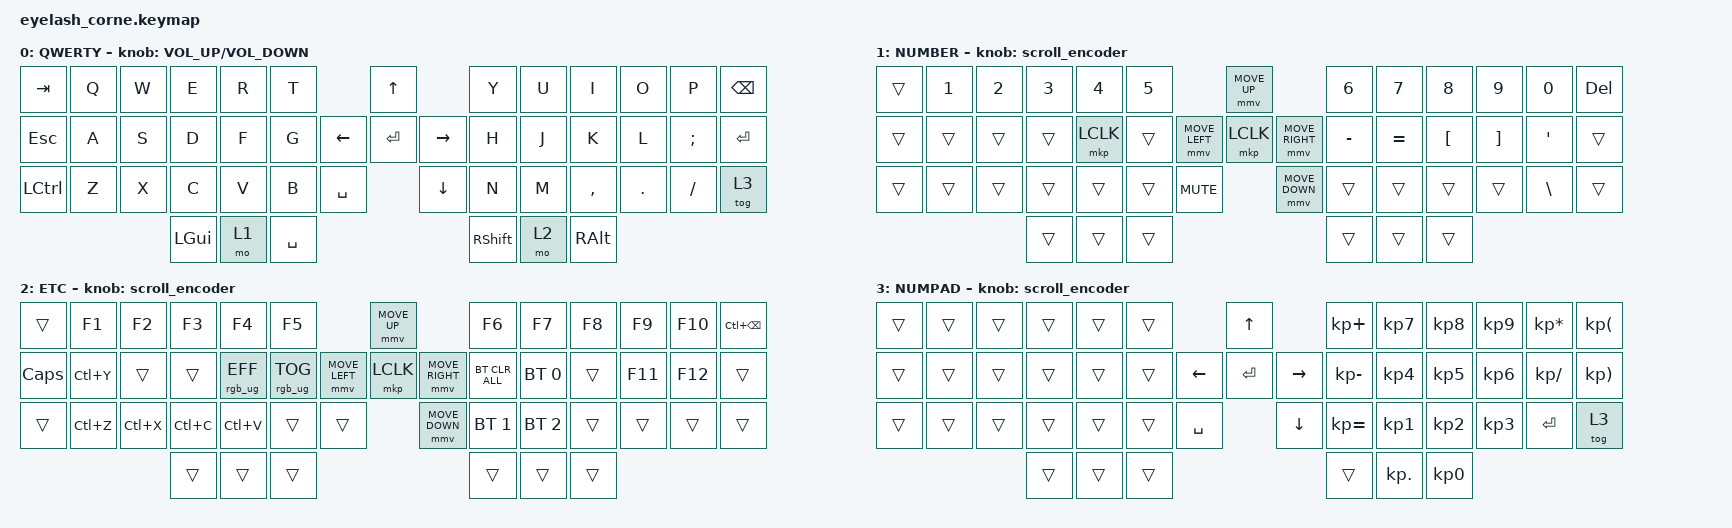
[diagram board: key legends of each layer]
#include <behaviors.dtsi>
#include <dt-bindings/zmk/bt.h>
#include <dt-bindings/zmk/keys.h>
#include <dt-bindings/zmk/mouse.h>
#include <dt-bindings/zmk/outputs.h>
#include <dt-bindings/zmk/rgb.h>

#include <input/processors.dtsi>

/*

   &mmv_input_listener {
       input-processors = <&zip_xy_scaler 2 1>;
   };

   &msc_input_listener {
       input-processors = <&zip_xy_scaler 2 1>;
   };

 */

#define ZMK_MOUSE_DEFAULT_MOVE_VAL 1200  // 600
#define ZMK_MOUSE_DEFAULT_SCRL_VAL 20    // 10

/ {
    behaviors {
        td0: td0 {
            compatible = "zmk,behavior-tap-dance";
            display-name = "Shift/Caps Lock Tap Dance";
            #binding-cells = <0>;
            bindings = <&kp LEFT_SHIFT>, <&kp CAPS>;
        };
    };

    rgb_encoder: rgb_encoder {
        compatible = "zmk,behavior-sensor-rotate";
        #sensor-binding-cells = <0>;
        bindings = <&rgb_ug RGB_BRI>, <&rgb_ug RGB_BRD>;
    };

    scroll_encoder: scroll_encoder {
        compatible = "zmk,behavior-sensor-rotate";
        #sensor-binding-cells = <0>;
        bindings = <&msc SCRL_DOWN>, <&msc SCRL_UP>;
        tap-ms = <30>;
    };

    keymap {
        compatible = "zmk,keymap";

        default_layer {
            display-name = "QWERTY";
            bindings = <
&kp TAB    &kp Q  &kp W      &kp E     &kp R  &kp T                              &kp UP                &kp Y        &kp U  &kp I      &kp O    &kp P     &kp BSPC
&kp ESC    &kp A  &kp S      &kp D     &kp F  &kp G                    &kp LEFT  &kp ENTER  &kp RIGHT  &kp H        &kp J  &kp K      &kp L    &kp SEMI  &kp RET
&kp LCTRL  &kp Z  &kp X      &kp C     &kp V  &kp B       &kp SPACE              &kp DOWN              &kp N        &kp M  &kp COMMA  &kp DOT  &kp FSLH  &tog 3
                              &kp LGUI  &mo 1  &kp SPACE                                             &kp RSHIFT  &mo 2  &kp RALT
            >;
            sensor-bindings = <&inc_dec_kp C_VOLUME_UP C_VOLUME_DOWN>;
        };

        lower_layer {
            display-name = "NUMBER";
            bindings = <
&trans  &kp N1   &kp N2     &kp N3     &kp N4     &kp N5                            &mmv MOVE_UP                      &kp N6     &kp N7     &kp N8     &kp N9     &kp N0     &kp DEL
&trans  &trans   &trans     &trans     &mkp LCLK  &trans            &mmv MOVE_LEFT  &mkp LCLK       &mmv MOVE_RIGHT   &kp MINUS  &kp EQUAL  &kp LBKT   &kp RBKT   &kp SQT    &trans
&trans  &trans   &trans     &trans     &trans     &trans     &kp C_MUTE             &mmv MOVE_DOWN                    &trans     &trans     &trans     &trans     &kp BSLH   &trans
                              &trans     &trans     &trans                                                          &trans     &trans    &trans
            >;
            sensor-bindings = <&scroll_encoder>;
        };

        raise_layer {
            display-name = "ETC";
            bindings = <
&trans    &kp F1      &kp F2     &kp F3     &kp F4           &kp F5                             &mmv MOVE_UP                      &kp F6       &kp F7       &kp F8     &kp F9    &kp F10   &kp LC(BSPC)
&kp CLCK  &kp LC(Y)   &trans     &trans     &rgb_ug RGB_EFF  &rgb_ug RGB_TOG    &mmv MOVE_LEFT  &mkp LCLK       &mmv MOVE_RIGHT   &bt CLR_ALL  &bt BT_SEL 0 &trans     &kp F11   &kp F12   &trans
&trans    &kp LC(Z)   &kp LC(X)  &kp LC(C)  &kp LC(V)        &trans      &trans                 &mmv MOVE_DOWN                    &bt BT_SEL 1 &bt BT_SEL 2 &trans     &trans    &trans    &trans
                                    &trans     &trans     &trans                                                        &trans    &trans     &trans
            >;
            sensor-bindings = <&scroll_encoder>;
        };

        numpad_layer {
            display-name = "NUMPAD";
            bindings = <
&trans  &trans  &trans  &trans  &trans  &trans                            &kp UP                      &kp KP_PLUS   &kp KP_N7   &kp KP_N8   &kp KP_N9   &kp KP_STAR  &kp KP_LPAR  
&trans  &trans  &trans  &trans  &trans  &trans            &kp LEFT        &kp ENTER     &kp RIGHT     &kp KP_MINUS  &kp KP_N4   &kp KP_N5   &kp KP_N6   &kp KP_SLASH &kp KP_RPAR
&trans  &trans  &trans  &trans  &trans  &trans     &kp SPACE              &kp DOWN                    &kp KP_EQUAL  &kp KP_N1   &kp KP_N2   &kp KP_N3   &kp RET      &tog 3
                              &trans     &trans     &trans                                          &trans  &kp KP_DOT    &kp KP_N0
            >;
            sensor-bindings = <&scroll_encoder>;
        };
    };
};
